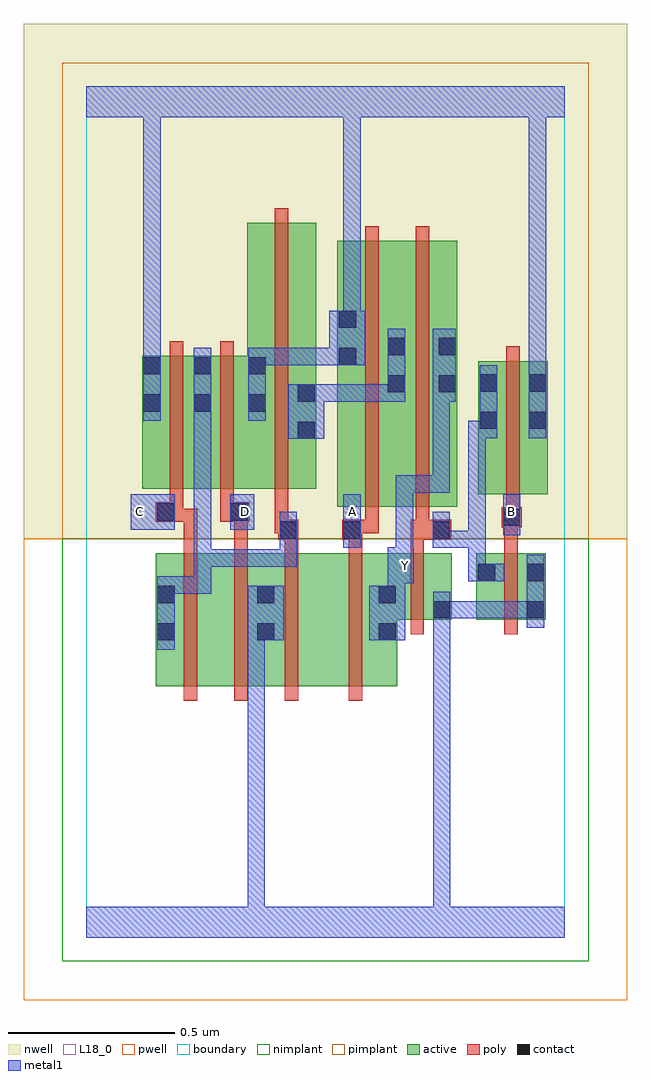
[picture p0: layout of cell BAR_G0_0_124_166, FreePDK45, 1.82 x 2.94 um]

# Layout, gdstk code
import gdstk
lib = gdstk.Library(unit=1e-6, precision=1e-09)
def R(c, l, rs):  # rectangles x0, y0, x1, y1
    for r in rs: c.add(gdstk.rectangle(r[:2], r[2:], *l))
def A(c, l, x, y, w, h, nx, ny, dx, dy):  # array of equal rectangles
    R(c, l, [(x+i*dx, y+j*dy, x+i*dx+w, y+j*dy+h) for i in range(nx) for j in range(ny)])
active = (1, 0)
pwell = (2, 0)
nwell = (3, 0)
nimplant = (4, 0)
pimplant = (5, 0)
poly = (9, 0)
contact = (10, 0)
metal1 = (11, 0)
L18_0 = (18, 0)
boundary = (235, 0)

bar_g0_0_124_166 = lib.new_cell('BAR_G0_0_124_166')
R(bar_g0_0_124_166, active, [(0.21,0.756,0.27,1.156), (0.21,0.756,0.39,1.156), (0.39,0.756,0.57,1.156), (0.51,0.756,0.57,1.156), (0.51,0.756,0.694,1.156), (0.694,0.756,0.936,1.156), (0.876,0.756,0.936,1.156), (0.876,0.956,1.1,1.156), (1.04,0.956,1.1,1.156), (1.174,0.956,1.234,1.156), (1.174,0.956,1.382,1.156), (1.322,0.956,1.382,1.156), (0.756,1.296,0.816,2.096), (0.756,1.296,0.964,2.096), (0.904,1.296,1.116,2.096), (1.056,1.296,1.116,2.096), (1.18,1.334,1.388,1.734), (1.18,1.334,1.24,1.698), (1.328,1.334,1.388,1.734), (0.168,1.35,0.228,1.75), (0.168,1.35,0.38,1.75), (0.32,1.35,0.38,1.75), (0.32,1.35,0.544,1.75), (0.484,1.35,0.692,2.15), (0.484,1.35,0.544,1.95), (0.632,1.35,0.692,2.096), (0.904,1.444,0.964,2.096)])
R(bar_g0_0_124_166, pwell, [(-0.188,-0.188,1.628,1.2)])
R(bar_g0_0_124_166, nwell, [(-0.188,1.2,1.628,2.748)])
R(bar_g0_0_124_166, nimplant, [(-0.072,-0.072,1.512,1.2)])
R(bar_g0_0_124_166, pimplant, [(-0.072,1.2,1.512,2.632)])
A(bar_g0_0_124_166, poly, 0.294, 0.712, 0.04, 0.488, 3, 1, 0.152, 0)
R(bar_g0_0_124_166, poly, [(0.79,0.712,0.83,1.2), (0.976,0.912,1.016,1.2), (1.258,0.912,1.298,1.2), (0.294,1.16,0.334,1.29), (0.446,1.16,0.486,1.29), (0.598,1.16,0.638,1.236), (0.79,1.16,0.83,1.236), (0.976,1.16,1.016,1.236), (1.258,1.16,1.298,1.274), (0.578,1.196,0.638,1.256), (0.77,1.196,0.83,1.256), (0.976,1.196,1.098,1.256), (0.568,1.216,0.608,1.346), (0.568,1.216,0.618,1.256), (0.578,1.216,0.618,1.256), (0.79,1.216,0.83,1.256), (0.79,1.216,0.88,1.256), (0.84,1.216,0.88,1.292), (0.992,1.216,1.032,1.292), (0.992,1.216,1.032,1.256), (0.992,1.216,1.032,1.256), (1.25,1.234,1.31,1.294), (0.21,1.25,0.292,1.31), (0.252,1.25,0.292,1.29), (0.252,1.25,0.334,1.29), (0.404,1.25,0.49,1.31), (0.446,1.25,0.486,1.29), (0.446,1.25,0.486,1.29), (0.84,1.252,0.88,2.14), (0.992,1.252,1.032,2.14), (1.264,1.254,1.304,1.33), (1.264,1.254,1.304,1.294), (1.264,1.254,1.304,1.294), (0.252,1.27,0.292,1.346), (0.404,1.27,0.444,1.346), (1.264,1.29,1.304,1.778), (0.252,1.306,0.292,1.794), (0.404,1.306,0.444,1.794), (0.568,1.306,0.608,2.194)])
R(bar_g0_0_124_166, contact, [(0.214,0.894,0.266,0.946), (0.514,0.894,0.566,0.946), (0.88,0.894,0.932,0.946), (1.044,0.96,1.096,1.012), (1.326,0.96,1.378,1.012), (0.214,1.006,0.266,1.058), (0.514,1.006,0.566,1.058), (0.88,1.006,0.932,1.058), (1.178,1.072,1.23,1.124), (1.326,1.072,1.378,1.124), (0.582,1.2,0.634,1.252), (0.774,1.2,0.826,1.252), (1.042,1.2,1.094,1.252), (1.254,1.238,1.306,1.29), (0.214,1.254,0.266,1.306), (0.434,1.254,0.486,1.306), (0.636,1.5,0.688,1.552), (1.184,1.53,1.236,1.582), (1.332,1.53,1.384,1.582), (0.172,1.582,0.224,1.634), (0.324,1.582,0.376,1.634), (0.488,1.582,0.54,1.634), (0.636,1.612,0.688,1.664), (0.908,1.64,0.96,1.692), (1.06,1.64,1.112,1.692), (1.184,1.642,1.236,1.694), (1.332,1.642,1.384,1.694), (0.172,1.694,0.224,1.746), (0.324,1.694,0.376,1.746), (0.488,1.694,0.54,1.746), (0.76,1.722,0.812,1.774), (0.908,1.752,0.96,1.804), (1.06,1.752,1.112,1.804), (0.76,1.834,0.812,1.886)])
R(bar_g0_0_124_166, metal1, [(0,0,1.44,0.092), (0.486,0.04,0.538,0.092), (0.486,0.04,0.538,0.092), (0.486,0.04,0.538,0.092), (0.486,0.04,0.538,0.092), (0.486,0.04,0.538,0.092), (0.486,0.04,0.538,0.092), (0.486,0.04,0.538,0.092), (0.486,0.04,0.538,0.092), (0.486,0.04,0.538,0.092), (0.486,0.04,0.538,0.092), (0.486,0.04,0.538,0.092), (0.486,0.04,0.538,0.092), (0.486,0.04,0.538,0.946), (1.044,0.04,1.096,0.092), (1.044,0.04,1.096,0.092), (1.044,0.04,1.096,0.984), (0.214,0.866,0.266,1.086), (0.486,0.894,0.594,1.058), (0.852,0.894,0.96,1.058), (1.044,0.932,1.096,0.984), (1.044,0.932,1.096,0.984), (1.044,0.932,1.096,0.984), (1.044,0.932,1.096,0.984), (1.044,0.932,1.096,0.984), (1.044,0.932,1.096,0.984), (1.044,0.932,1.096,0.984), (1.044,0.932,1.096,0.984), (1.044,0.932,1.096,0.984), (1.044,0.932,1.096,0.984), (1.044,0.932,1.096,0.984), (1.044,0.932,1.096,0.984), (1.044,0.932,1.096,0.984), (1.044,0.932,1.096,0.984), (1.044,0.932,1.096,1.04), (1.326,0.932,1.378,1.152), (1.044,0.96,1.268,1.012), (1.216,0.96,1.268,1.012), (1.216,0.96,1.378,1.012), (1.326,0.96,1.378,1.012), (1.326,0.96,1.378,1.012), (0.908,1.006,0.96,1.118), (0.214,1.034,0.266,1.086), (0.214,1.034,0.266,1.086), (0.214,1.034,0.376,1.086), (0.324,1.034,0.376,1.086), (0.324,1.034,0.376,1.168), (0.908,1.066,0.986,1.174), (1.15,1.072,1.202,1.224), (1.15,1.072,1.258,1.124), (0.324,1.116,0.376,1.168), (0.324,1.116,0.376,1.168), (0.324,1.116,0.376,1.168), (0.324,1.116,0.54,1.168), (0.324,1.116,0.376,1.606), (0.488,1.116,0.54,1.168), (0.488,1.116,0.634,1.168), (0.582,1.116,0.634,1.28), (0.932,1.122,0.984,1.39), (0.774,1.172,0.826,1.334), (1.042,1.172,1.196,1.224), (1.042,1.172,1.094,1.28), (1.144,1.172,1.196,1.224), (1.144,1.172,1.202,1.224), (1.15,1.172,1.202,1.224), (1.15,1.172,1.202,1.554), (1.254,1.21,1.306,1.334), (0.134,1.226,0.266,1.334), (0.434,1.226,0.506,1.334), (0.932,1.338,0.984,1.39), (0.932,1.338,1.074,1.39), (1.022,1.338,1.074,1.39), (1.022,1.338,1.094,1.39), (1.042,1.338,1.094,1.39), (1.042,1.338,1.094,1.664), (0.608,1.5,0.716,1.664), (1.15,1.502,1.236,1.554), (1.184,1.502,1.236,1.554), (1.184,1.502,1.236,1.722), (1.332,1.502,1.384,1.722), (0.172,1.554,0.224,1.774), (0.324,1.554,0.376,1.606), (0.324,1.554,0.376,1.606), (0.324,1.554,0.376,1.774), (0.488,1.554,0.54,1.774), (0.664,1.612,0.716,1.664), (0.664,1.612,0.716,1.664), (0.664,1.612,0.96,1.664), (0.908,1.612,0.96,1.664), (0.908,1.612,0.96,1.664), (0.908,1.612,0.96,1.832), (1.042,1.612,1.112,1.832), (1.332,1.67,1.384,1.722), (1.332,1.67,1.384,1.722), (1.332,1.67,1.384,2.52), (0.172,1.722,0.224,1.774), (0.172,1.722,0.224,1.774), (0.172,1.722,0.224,1.774), (0.172,1.722,0.224,1.774), (0.172,1.722,0.224,1.774), (0.172,1.722,0.224,1.774), (0.172,1.722,0.224,1.774), (0.172,1.722,0.224,1.774), (0.172,1.722,0.224,1.774), (0.172,1.722,0.224,1.774), (0.172,1.722,0.224,2.52), (0.488,1.722,0.54,1.774), (0.488,1.722,0.54,1.774), (0.488,1.722,0.65,1.774), (0.598,1.722,0.65,1.774), (0.598,1.722,0.784,1.774), (0.732,1.722,0.84,1.886), (0.774,1.834,0.826,1.886), (0.774,1.834,0.826,1.886), (0.774,1.834,0.826,1.886), (0.774,1.834,0.826,1.886), (0.774,1.834,0.826,1.886), (0.774,1.834,0.826,1.886), (0.774,1.834,0.826,2.52), (0,2.468,1.44,2.56), (0.172,2.468,0.224,2.52), (0.172,2.468,0.224,2.52), (0.172,2.468,0.224,2.52), (0.172,2.468,0.224,2.52), (0.172,2.468,0.224,2.52), (0.172,2.468,0.224,2.52), (0.774,2.468,0.826,2.52), (0.774,2.468,0.826,2.52), (1.332,2.468,1.384,2.52), (1.332,2.468,1.384,2.52), (1.332,2.468,1.384,2.52), (1.332,2.468,1.384,2.52), (1.332,2.468,1.384,2.52), (1.332,2.468,1.384,2.52), (1.332,2.468,1.384,2.52), (1.332,2.468,1.384,2.52), (1.332,2.468,1.384,2.52), (1.332,2.468,1.384,2.52), (1.332,2.468,1.384,2.52), (1.332,2.468,1.384,2.52), (1.332,2.468,1.384,2.52), (1.332,2.468,1.384,2.52)])
A(bar_g0_0_124_166, L18_0, 0.134, 1.254, 0.052, 0.052, 3, 1, 0.32, 0)
R(bar_g0_0_124_166, L18_0, [(0,0,1.44,0.092), (0.486,0.04,0.538,0.092), (0.486,0.04,0.538,0.092), (0.486,0.04,0.538,0.092), (0.486,0.04,0.538,0.092), (0.486,0.04,0.538,0.092), (0.486,0.04,0.538,0.092), (0.486,0.04,0.538,0.092), (0.486,0.04,0.538,0.092), (0.486,0.04,0.538,0.092), (0.486,0.04,0.538,0.092), (0.486,0.04,0.538,0.092), (0.486,0.04,0.538,0.092), (0.486,0.04,0.538,0.946), (1.044,0.04,1.096,0.092), (1.044,0.04,1.096,0.092), (1.044,0.04,1.096,0.984), (0.486,0.894,0.594,1.058), (0.852,0.894,0.96,1.058), (1.044,0.932,1.096,0.984), (1.044,0.932,1.096,0.984), (1.044,0.932,1.096,0.984), (1.044,0.932,1.096,0.984), (1.044,0.932,1.096,0.984), (1.044,0.932,1.096,0.984), (1.044,0.932,1.096,0.984), (1.044,0.932,1.096,0.984), (1.044,0.932,1.096,0.984), (1.044,0.932,1.096,0.984), (1.044,0.932,1.096,0.984), (1.044,0.932,1.096,0.984), (1.044,0.932,1.096,0.984), (1.044,0.932,1.096,0.984), (1.044,0.932,1.096,1.04), (1.326,0.932,1.378,1.152), (1.044,0.96,1.268,1.012), (1.216,0.96,1.268,1.012), (1.216,0.96,1.378,1.012), (1.326,0.96,1.378,1.012), (1.326,0.96,1.378,1.012), (0.908,1.006,0.96,1.118), (0.908,1.066,0.986,1.174), (0.934,1.094,0.986,1.146), (0.932,1.122,0.984,1.39), (0.774,1.172,0.826,1.334), (1.254,1.21,1.306,1.334), (0.134,1.226,0.266,1.334), (0.434,1.226,0.506,1.334), (1.254,1.254,1.306,1.306), (0.932,1.338,0.984,1.39), (0.932,1.338,1.074,1.39), (1.022,1.338,1.074,1.39), (1.022,1.338,1.094,1.39), (1.042,1.338,1.094,1.39), (1.042,1.338,1.094,1.664), (1.332,1.502,1.384,1.722), (0.172,1.554,0.224,1.774), (0.488,1.554,0.54,1.774), (1.042,1.612,1.112,1.832), (1.332,1.67,1.384,1.722), (1.332,1.67,1.384,1.722), (1.332,1.67,1.384,2.52), (0.172,1.722,0.224,1.774), (0.172,1.722,0.224,1.774), (0.172,1.722,0.224,1.774), (0.172,1.722,0.224,1.774), (0.172,1.722,0.224,1.774), (0.172,1.722,0.224,1.774), (0.172,1.722,0.224,1.774), (0.172,1.722,0.224,1.774), (0.172,1.722,0.224,1.774), (0.172,1.722,0.224,1.774), (0.172,1.722,0.224,2.52), (0.488,1.722,0.54,1.774), (0.488,1.722,0.54,1.774), (0.488,1.722,0.65,1.774), (0.598,1.722,0.65,1.774), (0.598,1.722,0.784,1.774), (0.732,1.722,0.84,1.886), (0.774,1.834,0.826,1.886), (0.774,1.834,0.826,1.886), (0.774,1.834,0.826,1.886), (0.774,1.834,0.826,1.886), (0.774,1.834,0.826,1.886), (0.774,1.834,0.826,1.886), (0.774,1.834,0.826,2.52), (0,2.468,1.44,2.56), (0.172,2.468,0.224,2.52), (0.172,2.468,0.224,2.52), (0.172,2.468,0.224,2.52), (0.172,2.468,0.224,2.52), (0.172,2.468,0.224,2.52), (0.172,2.468,0.224,2.52), (0.774,2.468,0.826,2.52), (0.774,2.468,0.826,2.52), (1.332,2.468,1.384,2.52), (1.332,2.468,1.384,2.52), (1.332,2.468,1.384,2.52), (1.332,2.468,1.384,2.52), (1.332,2.468,1.384,2.52), (1.332,2.468,1.384,2.52), (1.332,2.468,1.384,2.52), (1.332,2.468,1.384,2.52), (1.332,2.468,1.384,2.52), (1.332,2.468,1.384,2.52), (1.332,2.468,1.384,2.52), (1.332,2.468,1.384,2.52), (1.332,2.468,1.384,2.52), (1.332,2.468,1.384,2.52)])
R(bar_g0_0_124_166, boundary, [(0,0,1.44,2.56)])
bar_g0_0_124_166.add(gdstk.Label('A', (0.8,1.28), layer=11, texttype=0))
bar_g0_0_124_166.add(gdstk.Label('B', (1.28,1.28), layer=11, texttype=0))
bar_g0_0_124_166.add(gdstk.Label('C', (0.16,1.28), layer=11, texttype=0))
bar_g0_0_124_166.add(gdstk.Label('D', (0.48,1.28), layer=11, texttype=0))
bar_g0_0_124_166.add(gdstk.Label('Y', (0.96,1.12), layer=11, texttype=0))

lib.write_gds('BAR_G0_0_124_166.gds')
